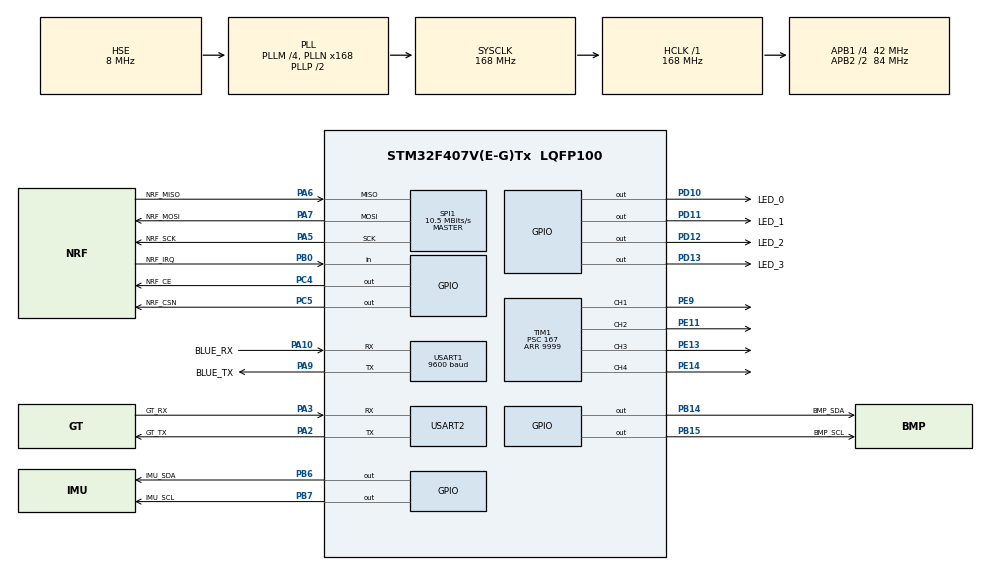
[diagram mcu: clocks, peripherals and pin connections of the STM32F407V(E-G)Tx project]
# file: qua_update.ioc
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FREERTOS.INCLUDE_vTaskDelayUntil=1
FREERTOS.Tasks01=defaultTask,0,128,StartDefaultTask,Default,NULL
FREERTOS.configUSE_TIMERS=1
Mcu.Family=STM32F4
Mcu.Name=STM32F407V(E-G)Tx
Mcu.Package=LQFP100
NVIC.PriorityGroup=NVIC_PRIORITYGROUP_4
NVIC.TIM1_UP_TIM10_IRQn=true\:0\:0\:false\:false\:true\:false\:false
NVIC.TimeBase=TIM1_UP_TIM10_IRQn
NVIC.TimeBaseIP=TIM10
PA10.GPIO_Label=BLUE_RX
PA10.Mode=Asynchronous
PA10.Signal=USART1_RX
PA13.Mode=Serial_Wire
PA13.Signal=SYS_JTMS-SWDIO
PA14.Mode=Serial_Wire
PA14.Signal=SYS_JTCK-SWCLK
PA2.GPIO_Label=GT_TX
PA2.Mode=Asynchronous
PA2.Signal=USART2_TX
PA3.GPIO_Label=GT_RX
PA3.Mode=Asynchronous
PA3.Signal=USART2_RX
PA5.GPIO_Label=NRF_SCK
PA5.Mode=Full_Duplex_Master
PA5.Signal=SPI1_SCK
PA6.GPIO_Label=NRF_MISO
PA6.Mode=Full_Duplex_Master
PA6.Signal=SPI1_MISO
PA7.GPIO_Label=NRF_MOSI
PA7.Mode=Full_Duplex_Master
PA7.Signal=SPI1_MOSI
PA9.GPIO_Label=BLUE_TX
PA9.Mode=Asynchronous
PA9.Signal=USART1_TX
PB0.GPIO_Label=NRF_IRQ
PB0.Signal=GPIO_Input
PB14.GPIO_Label=BMP_SDA
PB14.Signal=GPIO_Output
PB15.GPIO_Label=BMP_SCL
PB15.Signal=GPIO_Output
PB6.GPIO_Label=IMU_SDA
PB6.GPIO_Speed=GPIO_SPEED_FREQ_VERY_HIGH
PB6.Signal=GPIO_Output
PB7.GPIO_Label=IMU_SCL
PB7.GPIO_PuPd=GPIO_PULLUP
PB7.GPIO_Speed=GPIO_SPEED_FREQ_VERY_HIGH
PB7.Signal=GPIO_Output
PC4.GPIO_Label=NRF_CE
PC4.GPIO_Speed=GPIO_SPEED_FREQ_VERY_HIGH
PC4.PinState=GPIO_PIN_RESET
PC4.Signal=GPIO_Output
PC5.GPIO_Label=NRF_CSN
PC5.GPIO_Speed=GPIO_SPEED_FREQ_VERY_HIGH
PC5.Signal=GPIO_Output
PD10.GPIO_Label=LED_0
PD10.PinState=GPIO_PIN_SET
PD10.Signal=GPIO_Output
PD11.GPIO_Label=LED_1
PD11.PinState=GPIO_PIN_SET
PD11.Signal=GPIO_Output
PD12.GPIO_Label=LED_2
PD12.PinState=GPIO_PIN_SET
PD12.Signal=GPIO_Output
PD13.GPIO_Label=LED_3
PD13.PinState=GPIO_PIN_SET
PD13.Signal=GPIO_Output
PE11.Signal=S_TIM1_CH2
PE13.Signal=S_TIM1_CH3
PE14.Signal=S_TIM1_CH4
PE9.Signal=S_TIM1_CH1
PH0-OSC_IN.Mode=HSE-External-Oscillator
PH0-OSC_IN.Signal=RCC_OSC_IN
PH1-OSC_OUT.Mode=HSE-External-Oscillator
PH1-OSC_OUT.Signal=RCC_OSC_OUT
ProjectManager.HeapSize=0x200
ProjectManager.StackSize=0x400
ProjectManager.TargetToolchain=MDK-ARM V5
RCC.48MHZClocksFreq_Value=84000000
RCC.AHBFreq_Value=168000000
RCC.APB1CLKDivider=RCC_HCLK_DIV4
RCC.APB1Freq_Value=42000000
RCC.APB1TimFreq_Value=84000000
RCC.APB2CLKDivider=RCC_HCLK_DIV2
RCC.APB2Freq_Value=84000000
RCC.APB2TimFreq_Value=168000000
RCC.CortexFreq_Value=168000000
RCC.HCLKFreq_Value=168000000
RCC.HSE_VALUE=8000000
RCC.HSI_VALUE=16000000
RCC.LSE_VALUE=32768
RCC.PLLM=4
RCC.PLLN=168
RCC.PLLSourceVirtual=RCC_PLLSOURCE_HSE
RCC.SYSCLKFreq_VALUE=168000000
RCC.SYSCLKSource=RCC_SYSCLKSOURCE_PLLCLK
RCC.VCOOutputFreq_Value=336000000
SH.S_TIM1_CH1.0=TIM1_CH1,PWM Generation1 CH1
SH.S_TIM1_CH2.0=TIM1_CH2,PWM Generation2 CH2
SH.S_TIM1_CH3.0=TIM1_CH3,PWM Generation3 CH3
SH.S_TIM1_CH4.0=TIM1_CH4,PWM Generation4 CH4
SPI1.BaudRatePrescaler=SPI_BAUDRATEPRESCALER_8
SPI1.CLKPhase=SPI_PHASE_2EDGE
SPI1.CalculateBaudRate=10.5 MBits/s
SPI1.Direction=SPI_DIRECTION_2LINES
SPI1.Mode=SPI_MODE_MASTER
SPI1.VirtualType=VM_MASTER
TIM1.Channel-PWM\ Generation1\ CH1=TIM_CHANNEL_1
TIM1.Channel-PWM\ Generation2\ CH2=TIM_CHANNEL_2
TIM1.Channel-PWM\ Generation3\ CH3=TIM_CHANNEL_3
TIM1.Channel-PWM\ Generation4\ CH4=TIM_CHANNEL_4
TIM1.Period=9999
TIM1.Prescaler=167
USART1.BaudRate=9600
USART1.VirtualMode=VM_ASYNC
USART2.VirtualMode=VM_ASYNC
VP_FREERTOS_VS_ENABLE.Mode=Enabled
VP_SYS_VS_tim10.Mode=TIM10
board=custom

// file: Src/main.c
/**
  ******************************************************************************
  * @file           : main.c
  * @brief          : Main program body
  ******************************************************************************
  * This notice applies to any and all portions of this file
  * that are not between comment pairs USER CODE BEGIN and
  * USER CODE END. Other portions of this file, whether
  * inserted by the user or by software development tools
  * are owned by their respective copyright owners.
  *
  * Copyright (c) 2019 STMicroelectronics International N.V.
  * All rights reserved.
  *
  * Redistribution and use in source and binary forms, with or without
  * modification, are permitted, provided that the following conditions are met:
  *
  * 1. Redistribution of source code must retain the above copyright notice,
  *    this list of conditions and the following disclaimer.
  * 2. Redistributions in binary form must reproduce the above copyright notice,
  *    this list of conditions and the following disclaimer in the documentation
  *    and/or other materials provided with the distribution.
  * 3. Neither the name of STMicroelectronics nor the names of other
  *    contributors to this software may be used to endorse or promote products
  *    derived from this software without specific written permission.
  * 4. This software, including modifications and/or derivative works of this
  *    software, must execute solely and exclusively on microcontroller or
  *    microprocessor devices manufactured by or for STMicroelectronics.
  * 5. Redistribution and use of this software other than as permitted under
  *    this license is void and will automatically terminate your rights under
  *    this license.
  *
  * THIS SOFTWARE IS PROVIDED BY STMICROELECTRONICS AND CONTRIBUTORS "AS IS"
  * AND ANY EXPRESS, IMPLIED OR STATUTORY WARRANTIES, INCLUDING, BUT NOT
  * LIMITED TO, THE IMPLIED WARRANTIES OF MERCHANTABILITY, FITNESS FOR A
  * PARTICULAR PURPOSE AND NON-INFRINGEMENT OF THIRD PARTY INTELLECTUAL PROPERTY
  * RIGHTS ARE DISCLAIMED TO THE FULLEST EXTENT PERMITTED BY LAW. IN NO EVENT
  * SHALL STMICROELECTRONICS OR CONTRIBUTORS BE LIABLE FOR ANY DIRECT, INDIRECT,
  * INCIDENTAL, SPECIAL, EXEMPLARY, OR CONSEQUENTIAL DAMAGES (INCLUDING, BUT NOT
  * LIMITED TO, PROCUREMENT OF SUBSTITUTE GOODS OR SERVICES; LOSS OF USE, DATA,
  * OR PROFITS; OR BUSINESS INTERRUPTION) HOWEVER CAUSED AND ON ANY THEORY OF
  * LIABILITY, WHETHER IN CONTRACT, STRICT LIABILITY, OR TORT (INCLUDING
  * NEGLIGENCE OR OTHERWISE) ARISING IN ANY WAY OUT OF THE USE OF THIS SOFTWARE,
  * EVEN IF ADVISED OF THE POSSIBILITY OF SUCH DAMAGE.
  *
  ******************************************************************************
  */
#include "main.h"
#include "stm32f4xx_hal.h"
#include "cmsis_os.h"
#include "spi.h"
#include "tim.h"
#include "usart.h"
#include "gpio.h"

/* USER CODE BEGIN Includes */
#include "motor_task.h"
#include "imu_task.h"
#include "bsp_nrf24.h"
#include "controller_task.h"
/* USER CODE END Includes */

/* USER CODE BEGIN PV */
/* Private variables ---------------------------------------------------------*/

/* USER CODE END PV */

void SystemClock_Config(void);
void MX_FREERTOS_Init(void);

/* USER CODE BEGIN PFP */
/* Private function prototypes -----------------------------------------------*/

/* USER CODE END PFP */

int main(void)
{

  /* MCU Configuration----------------------------------------------------------*/

  /* Reset of all peripherals, Initializes the Flash interface and the Systick. */
  HAL_Init();

  /* Configure the system clock */
  SystemClock_Config();

  /* Initialize all configured peripherals */
  MX_GPIO_Init();
  MX_TIM1_Init();
  MX_USART1_UART_Init();
  MX_SPI1_Init();
  MX_USART2_UART_Init();
  /* USER CODE BEGIN 2 */
	HAL_GPIO_WritePin(GPIOD, LED_3_Pin, GPIO_PIN_RESET);
	motor_init();
	controller_init();
	imu_param_init();
	NRF24L01_Init();
	NRF24L01_Check();
	NRF24L01_RX_Mode();

	HAL_GPIO_WritePin(GPIOD, LED_3_Pin, GPIO_PIN_SET);
  HAL_GPIO_WritePin(GPIOD, LED_0_Pin, GPIO_PIN_RESET);
  /* USER CODE END 2 */

  /* Call init function for freertos objects (in freertos.c) */
  MX_FREERTOS_Init();

  /* Start scheduler */
  osKernelStart();

  /* We should never get here as control is now taken by the scheduler */

  /* Infinite loop */
  while (1)
  {

  }

}

void SystemClock_Config(void)
{

  RCC_OscInitTypeDef RCC_OscInitStruct;
  RCC_ClkInitTypeDef RCC_ClkInitStruct;

    /**Configure the main internal regulator output voltage
    */
  __HAL_RCC_PWR_CLK_ENABLE();

  __HAL_PWR_VOLTAGESCALING_CONFIG(PWR_REGULATOR_VOLTAGE_SCALE1);

    /**Initializes the CPU, AHB and APB busses clocks
    */
  RCC_OscInitStruct.OscillatorType = RCC_OSCILLATORTYPE_HSE;
  RCC_OscInitStruct.HSEState = RCC_HSE_ON;
  RCC_OscInitStruct.PLL.PLLState = RCC_PLL_ON;
  RCC_OscInitStruct.PLL.PLLSource = RCC_PLLSOURCE_HSE;
  RCC_OscInitStruct.PLL.PLLM = 4;
  RCC_OscInitStruct.PLL.PLLN = 168;
  RCC_OscInitStruct.PLL.PLLP = RCC_PLLP_DIV2;
  RCC_OscInitStruct.PLL.PLLQ = 4;
  if (HAL_RCC_OscConfig(&RCC_OscInitStruct) != HAL_OK)
  {
    _Error_Handler(__FILE__, __LINE__);
  }

    /**Initializes the CPU, AHB and APB busses clocks
    */
  RCC_ClkInitStruct.ClockType = RCC_CLOCKTYPE_HCLK|RCC_CLOCKTYPE_SYSCLK
                              |RCC_CLOCKTYPE_PCLK1|RCC_CLOCKTYPE_PCLK2;
  RCC_ClkInitStruct.SYSCLKSource = RCC_SYSCLKSOURCE_PLLCLK;
  RCC_ClkInitStruct.AHBCLKDivider = RCC_SYSCLK_DIV1;
  RCC_ClkInitStruct.APB1CLKDivider = RCC_HCLK_DIV4;
  RCC_ClkInitStruct.APB2CLKDivider = RCC_HCLK_DIV2;

  if (HAL_RCC_ClockConfig(&RCC_ClkInitStruct, FLASH_LATENCY_5) != HAL_OK)
  {
    _Error_Handler(__FILE__, __LINE__);
  }

    /**Configure the Systick interrupt time
    */
  HAL_SYSTICK_Config(HAL_RCC_GetHCLKFreq()/1000);

    /**Configure the Systick
    */
  HAL_SYSTICK_CLKSourceConfig(SYSTICK_CLKSOURCE_HCLK);

  /* SysTick_IRQn interrupt configuration */
  HAL_NVIC_SetPriority(SysTick_IRQn, 15, 0);
}

void HAL_TIM_PeriodElapsedCallback(TIM_HandleTypeDef *htim)
{
  if (htim->Instance == TIM10) {
    HAL_IncTick();
  }
}

void _Error_Handler(char *file, int line)
{
  while(1)
  {
  }
}

/************************ (C) COPYRIGHT STMicroelectronics *****END OF FILE****/

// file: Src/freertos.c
/* USER CODE BEGIN Header */
/**
  ******************************************************************************
  * File Name          : freertos.c
  * Description        : Code for freertos applications
  ******************************************************************************
  * This notice applies to any and all portions of this file
  * that are not between comment pairs USER CODE BEGIN and
  * USER CODE END. Other portions of this file, whether
  * inserted by the user or by software development tools
  * are owned by their respective copyright owners.
  *
  * Copyright (c) 2019 STMicroelectronics International N.V.
  * All rights reserved.
  *
  * Redistribution and use in source and binary forms, with or without
  * modification, are permitted, provided that the following conditions are met:
  *
  * 1. Redistribution of source code must retain the above copyright notice,
  *    this list of conditions and the following disclaimer.
  * 2. Redistributions in binary form must reproduce the above copyright notice,
  *    this list of conditions and the following disclaimer in the documentation
  *    and/or other materials provided with the distribution.
  * 3. Neither the name of STMicroelectronics nor the names of other
  *    contributors to this software may be used to endorse or promote products
  *    derived from this software without specific written permission.
  * 4. This software, including modifications and/or derivative works of this
  *    software, must execute solely and exclusively on microcontroller or
  *    microprocessor devices manufactured by or for STMicroelectronics.
  * 5. Redistribution and use of this software other than as permitted under
  *    this license is void and will automatically terminate your rights under
  *    this license.
  *
  * THIS SOFTWARE IS PROVIDED BY STMICROELECTRONICS AND CONTRIBUTORS "AS IS"
  * AND ANY EXPRESS, IMPLIED OR STATUTORY WARRANTIES, INCLUDING, BUT NOT
  * LIMITED TO, THE IMPLIED WARRANTIES OF MERCHANTABILITY, FITNESS FOR A
  * PARTICULAR PURPOSE AND NON-INFRINGEMENT OF THIRD PARTY INTELLECTUAL PROPERTY
  * RIGHTS ARE DISCLAIMED TO THE FULLEST EXTENT PERMITTED BY LAW. IN NO EVENT
  * SHALL STMICROELECTRONICS OR CONTRIBUTORS BE LIABLE FOR ANY DIRECT, INDIRECT,
  * INCIDENTAL, SPECIAL, EXEMPLARY, OR CONSEQUENTIAL DAMAGES (INCLUDING, BUT NOT
  * LIMITED TO, PROCUREMENT OF SUBSTITUTE GOODS OR SERVICES; LOSS OF USE, DATA,
  * OR PROFITS; OR BUSINESS INTERRUPTION) HOWEVER CAUSED AND ON ANY THEORY OF
  * LIABILITY, WHETHER IN CONTRACT, STRICT LIABILITY, OR TORT (INCLUDING
  * NEGLIGENCE OR OTHERWISE) ARISING IN ANY WAY OUT OF THE USE OF THIS SOFTWARE,
  * EVEN IF ADVISED OF THE POSSIBILITY OF SUCH DAMAGE.
  *
  ******************************************************************************
  */
/* USER CODE END Header */

#include "FreeRTOS.h"
#include "task.h"
#include "main.h"
#include "cmsis_os.h"

/* USER CODE BEGIN Includes */
#include "stm32f4xx_hal.h"
#include "motor_task.h"
#include "imu_task.h"
#include "controller_task.h"
#include "mode_switch_task.h"
#include "wireless_task.h"
/* USER CODE END Includes */

/* USER CODE BEGIN Variables */
osThreadId motor_t;
osThreadId imu_t;
osThreadId mode_sw_task_t;
osThreadId wireless_t ;

osTimerId controller_timer_id;
/* USER CODE END Variables */
osThreadId defaultTaskHandle;

void StartDefaultTask(void const * argument);

void MX_FREERTOS_Init(void); /* (MISRA C 2004 rule 8.1) */

void MX_FREERTOS_Init(void) {

  /* USER CODE BEGIN RTOS_TIMERS */
  /* start timers, add new ones, ... */
				 taskENTER_CRITICAL();

	 osTimerDef(controllerTimer, controller_task);
  controller_timer_id = osTimerCreate(osTimer(controllerTimer), osTimerPeriodic, NULL);
  /* USER CODE END RTOS_TIMERS */

  /* Create the thread(s) */
  /* definition and creation of defaultTask */
  osThreadDef(defaultTask, StartDefaultTask, osPriorityNormal, 0, 128);
  defaultTaskHandle = osThreadCreate(osThread(defaultTask), NULL);

  /* USER CODE BEGIN RTOS_THREADS */
  /* add threads, ... */
				 /* high priority task */

	 osThreadDef(motorTask, motor_task, osPriorityAboveNormal, 0, 512);
	motor_t = osThreadCreate(osThread(motorTask), NULL);

	 osThreadDef(imuTask, imu_task, osPriorityAboveNormal, 0, 512);
  imu_t = osThreadCreate(osThread(imuTask), NULL);

		 	 /* low priority task */
	 osThreadDef(wirelessTask, wireless_task, osPriorityNormal, 1, 1024);
	wireless_t = osThreadCreate(osThread(wirelessTask), NULL);

	 osThreadDef(modeTask, mode_switch_task, osPriorityNormal, 0, 512);
	mode_sw_task_t = osThreadCreate(osThread(modeTask), NULL);

	 		taskEXIT_CRITICAL();
  /* USER CODE END RTOS_THREADS */

}

void StartDefaultTask(void const * argument)
{

  /* USER CODE BEGIN StartDefaultTask */
  /* Infinite loop */
  for(;;)
  {
		HAL_GPIO_TogglePin(GPIOD,LED_1_Pin);
    osDelay(100);
  }
  /* USER CODE END StartDefaultTask */
}

/************************ (C) COPYRIGHT STMicroelectronics *****END OF FILE****/
